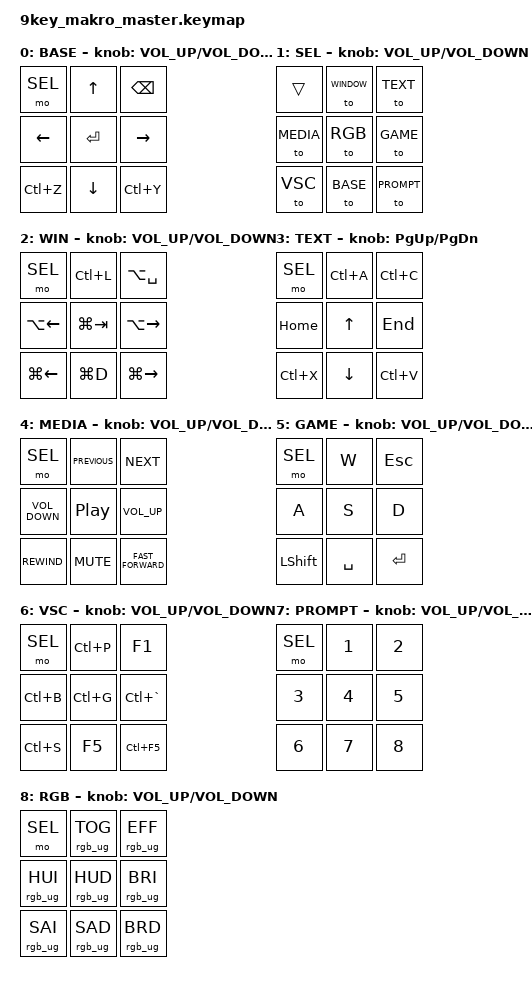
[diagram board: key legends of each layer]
/*
 * 9key_makro_master — ZMK keymap
 *
 * Based on the reworked QMK layout philosophy:
 * nine keys, selector-driven context layers, simple visible layout.
 */

#include <behaviors.dtsi>
#include <dt-bindings/zmk/keys.h>
#include <dt-bindings/zmk/bt.h>
#include <dt-bindings/zmk/rgb.h>

#define BASE   0
#define SEL    1
#define WINDOW 2
#define TEXT   3
#define MEDIA  4
#define GAME   5
#define VSC    6
#define PROMPT 7
#define RGB    8

/ {
    keymap {
        compatible = "zmk,keymap";

        base_layer {
            label = "BASE";
            bindings = <
                &mo SEL         &kp UP_ARROW     &kp BACKSPACE
                &kp LEFT_ARROW  &kp ENTER        &kp RIGHT_ARROW
                &kp LC(Z)       &kp DOWN_ARROW   &kp LC(Y)
            >;
            sensor-bindings = <&inc_dec_kp C_VOLUME_UP C_VOLUME_DOWN>;
        };

        selector_layer {
            label = "SEL";
            bindings = <
                &trans     &to WINDOW  &to TEXT
                &to MEDIA  &to RGB     &to GAME
                &to VSC    &to BASE    &to PROMPT
            >;
            sensor-bindings = <&inc_dec_kp C_VOLUME_UP C_VOLUME_DOWN>;
        };

        window_layer {
            label = "WIN";
            bindings = <
                &mo SEL           &kp LC(L)       &kp LA(SPACE)
                &kp LA(LEFT_ARROW) &kp LG(TAB)    &kp LA(RIGHT_ARROW)
                &kp LG(LEFT_ARROW) &kp LG(D)      &kp LG(RIGHT_ARROW)
            >;
            sensor-bindings = <&inc_dec_kp C_VOLUME_UP C_VOLUME_DOWN>;
        };

        text_layer {
            label = "TEXT";
            bindings = <
                &mo SEL      &kp LC(A)       &kp LC(C)
                &kp HOME     &kp UP_ARROW    &kp END
                &kp LC(X)    &kp DOWN_ARROW  &kp LC(V)
            >;
            sensor-bindings = <&inc_dec_kp PAGE_UP PAGE_DOWN>;
        };

        media_layer {
            label = "MEDIA";
            bindings = <
                &mo SEL             &kp C_PREVIOUS    &kp C_NEXT
                &kp C_VOLUME_DOWN   &kp C_PLAY_PAUSE  &kp C_VOLUME_UP
                &kp C_REWIND        &kp C_MUTE        &kp C_FAST_FORWARD
            >;
            sensor-bindings = <&inc_dec_kp C_VOLUME_UP C_VOLUME_DOWN>;
        };

        game_layer {
            label = "GAME";
            bindings = <
                &mo SEL       &kp W           &kp ESCAPE
                &kp A         &kp S           &kp D
                &kp LEFT_SHIFT &kp SPACE      &kp ENTER
            >;
            sensor-bindings = <&inc_dec_kp C_VOLUME_UP C_VOLUME_DOWN>;
        };

        vsc_layer {
            label = "VSC";
            bindings = <
                &mo SEL       &kp LC(P)       &kp F1
                &kp LC(B)     &kp LC(G)       &kp LC(GRAVE)
                &kp LC(S)     &kp F5          &kp LC(F5)
            >;
            sensor-bindings = <&inc_dec_kp C_VOLUME_UP C_VOLUME_DOWN>;
        };

        prompt_layer {
            label = "PROMPT";
            bindings = <
                &mo SEL       &kp N1          &kp N2
                &kp N3        &kp N4          &kp N5
                &kp N6        &kp N7          &kp N8
            >;
            sensor-bindings = <&inc_dec_kp C_VOLUME_UP C_VOLUME_DOWN>;
        };

        rgb_layer {
            label = "RGB";
            bindings = <
                &mo SEL           &rgb_ug RGB_TOG  &rgb_ug RGB_EFF
                &rgb_ug RGB_HUI   &rgb_ug RGB_HUD  &rgb_ug RGB_BRI
                &rgb_ug RGB_SAI   &rgb_ug RGB_SAD  &rgb_ug RGB_BRD
            >;
            sensor-bindings = <&inc_dec_kp C_VOLUME_UP C_VOLUME_DOWN>;
        };
    };
};
